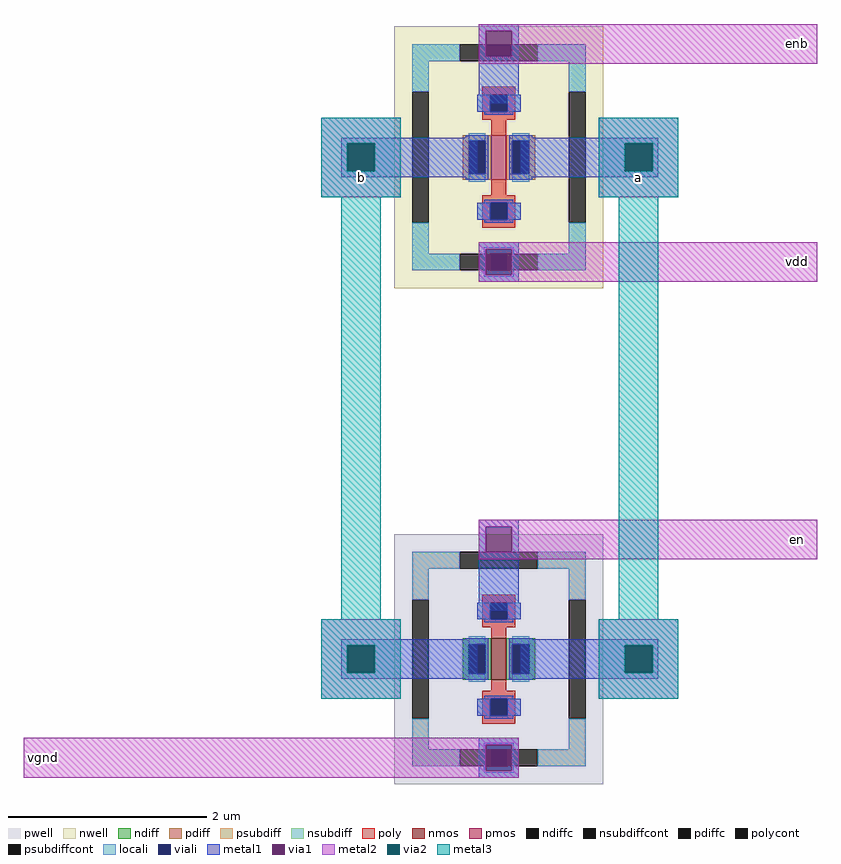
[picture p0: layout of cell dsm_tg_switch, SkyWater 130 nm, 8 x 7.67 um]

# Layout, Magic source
magic
tech sky130A
magscale 1 2
<< locali >>
rect 928 1417 988 1430
rect 928 1383 941 1417
rect 975 1383 988 1417
rect 928 1370 988 1383
rect 928 417 988 430
rect 928 383 941 417
rect 975 383 988 417
rect 928 370 988 383
<< viali >>
rect 941 1383 975 1417
rect 941 383 975 417
<< metal1 >>
rect 918 1866 998 1880
rect 918 1814 932 1866
rect 984 1814 998 1866
rect 918 1720 998 1814
rect 640 1637 914 1651
rect 640 1585 654 1637
rect 706 1585 914 1637
rect 640 1571 914 1585
rect 1002 1637 1280 1651
rect 1002 1585 1214 1637
rect 1266 1585 1280 1637
rect 1002 1571 1280 1585
rect 918 1426 998 1440
rect 918 1374 932 1426
rect 984 1374 998 1426
rect 918 1360 998 1374
rect 918 866 998 880
rect 918 814 932 866
rect 984 814 998 866
rect 918 696 998 814
rect 640 625 914 639
rect 640 573 654 625
rect 706 573 914 625
rect 640 559 914 573
rect 1002 625 1280 639
rect 1002 573 1214 625
rect 1266 573 1280 625
rect 1002 559 1280 573
rect 918 426 998 440
rect 918 374 932 426
rect 984 374 998 426
rect 918 360 998 374
<< via1 >>
rect 932 1814 984 1866
rect 654 1585 706 1637
rect 1214 1585 1266 1637
rect 932 1417 984 1426
rect 932 1383 941 1417
rect 941 1383 975 1417
rect 975 1383 984 1417
rect 932 1374 984 1383
rect 932 814 984 866
rect 654 573 706 625
rect 1214 573 1266 625
rect 932 417 984 426
rect 932 383 941 417
rect 941 383 975 417
rect 975 383 984 417
rect 932 374 984 383
<< metal2 >>
rect 918 1866 1600 1880
rect 918 1814 932 1866
rect 984 1814 1600 1866
rect 918 1800 1600 1814
rect 600 1639 760 1691
rect 600 1583 652 1639
rect 708 1583 760 1639
rect 600 1531 760 1583
rect 1160 1639 1320 1691
rect 1160 1583 1212 1639
rect 1268 1583 1320 1639
rect 1160 1531 1320 1583
rect 918 1426 1600 1440
rect 918 1374 932 1426
rect 984 1374 1600 1426
rect 918 1360 1600 1374
rect 918 866 1600 880
rect 918 814 932 866
rect 984 814 1600 866
rect 918 800 1600 814
rect 600 627 760 679
rect 600 571 652 627
rect 708 571 760 627
rect 600 519 760 571
rect 1160 627 1320 679
rect 1160 571 1212 627
rect 1268 571 1320 627
rect 1160 519 1320 571
rect 0 426 998 440
rect 0 374 932 426
rect 984 374 998 426
rect 0 360 998 374
<< via2 >>
rect 652 1637 708 1639
rect 652 1585 654 1637
rect 654 1585 706 1637
rect 706 1585 708 1637
rect 652 1583 708 1585
rect 1212 1637 1268 1639
rect 1212 1585 1214 1637
rect 1214 1585 1266 1637
rect 1266 1585 1268 1637
rect 1212 1583 1268 1585
rect 652 625 708 627
rect 652 573 654 625
rect 654 573 706 625
rect 706 573 708 625
rect 652 571 708 573
rect 1212 625 1268 627
rect 1212 573 1214 625
rect 1214 573 1266 625
rect 1266 573 1268 625
rect 1212 571 1268 573
<< metal3 >>
rect 600 1639 760 1691
rect 600 1583 652 1639
rect 708 1583 760 1639
rect 600 1531 760 1583
rect 1160 1639 1320 1691
rect 1160 1583 1212 1639
rect 1268 1583 1320 1639
rect 1160 1531 1320 1583
rect 640 679 720 1531
rect 1200 679 1280 1531
rect 600 627 760 679
rect 600 571 652 627
rect 708 571 760 627
rect 600 519 760 571
rect 1160 627 1320 679
rect 1160 571 1212 627
rect 1268 571 1320 627
rect 1160 519 1320 571
use dsm_tg_n_device  mn
transform 1 0 958 0 1 599
box -211 -252 211 252
use dsm_tg_p_device  mp
transform 1 0 958 0 1 1611
box -211 -264 211 264
<< labels >>
rlabel metal3 1200 1531 1280 1611 0 a
port 1 nsew
rlabel metal3 640 1531 720 1611 0 b
port 2 nsew
rlabel metal2 1520 800 1600 880 0 en
port 3 nsew
rlabel metal2 1520 1800 1600 1880 0 enb
port 4 nsew
rlabel metal2 1520 1360 1600 1440 0 vdd
port 5 nsew
rlabel metal2 0 360 80 440 0 vgnd
port 6 nsew
<< end >>

# cell dsm_tg_n_device: kit device sky130_fd_pr__nfet_01v8, w 0.42 l 0.15 m 1 nf 1 diffcov 100 polycov 100 guard 1 glc 1 grc 1 gtc 1 gbc 1 tbcov 100 rlcov 100 topc 1 botc 1 poverlap 0 doverlap 1 lmin 0.15 wmin 0.42 class mosfet compatible {sky130_fd_pr__nfet_01v8 sky130_fd_pr__nfet_01v8_lvt sky130_fd_bs_flash__special_sonosfet_star sky130_fd_pr__nfet_g5v0d10v5 sky130_fd_pr__nfet_05v0_nvt sky130_fd_pr__nfet_03v3_nvt} full_metal 1 conn_gates 1 viasrc 100 viadrn 100 viagate 100 viagb 0 viagr 0 viagl 0 viagt 0 doports 1

# cell dsm_tg_p_device: kit device sky130_fd_pr__pfet_01v8, w 0.45 l 0.15 m 1 nf 1 diffcov 100 polycov 100 guard 1 glc 1 grc 1 gtc 1 gbc 1 tbcov 100 rlcov 100 topc 1 botc 1 poverlap 0 doverlap 1 lmin 0.15 wmin 0.42 class mosfet compatible {sky130_fd_pr__pfet_01v8 sky130_fd_pr__pfet_01v8_lvt sky130_fd_pr__pfet_01v8_hvt sky130_fd_pr__pfet_g5v0d10v5} full_metal 1 conn_gates 1 viasrc 100 viadrn 100 viagate 100 viagb 0 viagr 0 viagl 0 viagt 0 doports 1
